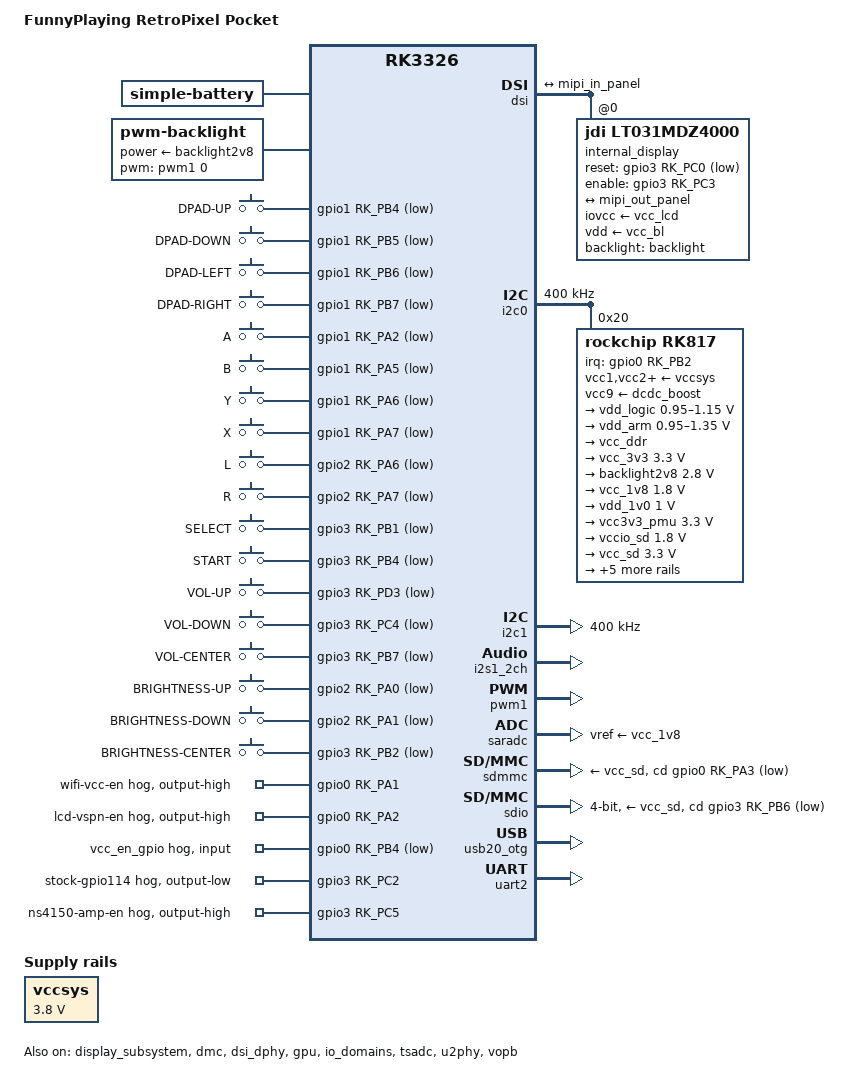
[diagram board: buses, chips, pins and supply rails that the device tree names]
// SPDX-License-Identifier: (GPL-2.0+ OR MIT)
/*
 * FunnyPlaying RetroPixel Pocket (RK3326 variant, "V2")
 *
 * This board file intentionally starts from rk3326.dtsi, not from
 * Odroid Go / RG351 board files.  The board is from a different
 * manufacturer and the factory source describes its own PMIC rails,
 * IO domains, panel GPIOs, SDIO wiring, and input matrix.
 */

/dts-v1/;
#include <dt-bindings/gpio/gpio.h>
#include <dt-bindings/input/input.h>
#include <dt-bindings/pinctrl/rockchip.h>
#include "rk3326.dtsi"

/ {
	model = "FunnyPlaying RetroPixel Pocket";
	compatible = "funnyplaying,rppocket", "rockchip,rk3326";

	aliases {
		mmc0 = &sdmmc;
	};

	chosen {
		stdout-path = "serial2:115200n8";
	};

	battery: battery {
		compatible = "simple-battery";
		charge-full-design-microamp-hours = <3000000>;
		charge-term-current-microamp = <300000>;
		constant-charge-current-max-microamp = <1500000>;
		constant-charge-voltage-max-microvolt = <4200000>;
		factory-internal-resistance-micro-ohms = <180000>;
		voltage-max-design-microvolt = <4100000>;
		voltage-min-design-microvolt = <3500000>;

		ocv-capacity-celsius = <20>;
		ocv-capacity-table-0 = <4046950 100>, <4001920 95>,
			<3967900 90>, <3919950 85>, <3895790 80>,
			<3882800 75>, <3871680 70>, <3859240 65>,
			<3845600 60>, <3825930 55>, <3803720 50>,
			<3785080 45>, <3768190 40>, <3745650 35>,
			<3726610 30>, <3711630 25>, <3696720 20>,
			<3685660 15>, <3674950 10>, <3663050 5>,
			<3574170 0>;
	};

	backlight: backlight {
		compatible = "pwm-backlight";
		power-supply = <&backlight2v8>;
		pwms = <&pwm1 0 62745 0>;
		brightness-levels = <
			  0   1   2   3   4   5   6   7
			  8   9  10  11  12  13  14  15
			 16  17  18  19  20  21  22  23
			 24  25  26  27  28  29  30  31
			 32  33  34  35  36  37  38  39
			 40  41  42  43  44  45  46  47
			 48  49  50  51  52  53  54  55
			 56  57  58  59  60  61  62  63
			 64  65  66  67  68  69  70  71
			 72  73  74  75  76  77  78  79
			 80  81  82  83  84  85  86  87
			 88  89  90  91  92  93  94  95
			 96  97  98  99 100 101 102 103
			104 105 106 107 108 109 110 111
			112 113 114 115 116 117 118 119
			120 121 122 123 124 125 126 127
			128 129 130 131 132 133 134 135
			136 137 138 139 140 141 142 143
			144 145 146 147 148 149 150 151
			152 153 154 155 156 157 158 159
			160 161 162 163 164 165 166 167
			168 169 170 171 172 173 174 175
			176 177 178 179 180 181 182 183
			184 185 186 187 188 189 190 191
			192 193 194 195 196 197 198 199
			200 201 202 203 204 205 206 207
			208 209 210 211 212 213 214 215
			216 217 218 219 220 221 222 223
			224 225 226 227 228 229 230 231
			232 233 234 235 236 237 238 239
			240 241 242 243 244 245 246 247
			248 249 250 251 252 253 254 255>;
		default-brightness-level = <128>;
	};

	gpio_keys: gpio-keys {
		compatible = "gpio-keys";
		autorepeat;
		pinctrl-names = "default";
		pinctrl-0 = <&btn_pins>;

		button-up {
			label = "DPAD-UP";
			gpios = <&gpio1 RK_PB4 GPIO_ACTIVE_LOW>;
			linux,code = <BTN_DPAD_UP>;
		};

		button-down {
			label = "DPAD-DOWN";
			gpios = <&gpio1 RK_PB5 GPIO_ACTIVE_LOW>;
			linux,code = <BTN_DPAD_DOWN>;
		};

		button-left {
			label = "DPAD-LEFT";
			gpios = <&gpio1 RK_PB6 GPIO_ACTIVE_LOW>;
			linux,code = <BTN_DPAD_LEFT>;
		};

		button-right {
			label = "DPAD-RIGHT";
			gpios = <&gpio1 RK_PB7 GPIO_ACTIVE_LOW>;
			linux,code = <BTN_DPAD_RIGHT>;
		};

		button-a {
			label = "A";
			gpios = <&gpio1 RK_PA2 GPIO_ACTIVE_LOW>;
			linux,code = <BTN_EAST>;
		};

		button-b {
			label = "B";
			gpios = <&gpio1 RK_PA5 GPIO_ACTIVE_LOW>;
			linux,code = <BTN_SOUTH>;
		};

		button-y {
			label = "Y";
			gpios = <&gpio1 RK_PA6 GPIO_ACTIVE_LOW>;
			linux,code = <BTN_WEST>;
		};

		button-x {
			label = "X";
			gpios = <&gpio1 RK_PA7 GPIO_ACTIVE_LOW>;
			linux,code = <BTN_NORTH>;
		};

		button-l {
			label = "L";
			gpios = <&gpio2 RK_PA6 GPIO_ACTIVE_LOW>;
			linux,code = <BTN_TL>;
		};

		button-r {
			label = "R";
			gpios = <&gpio2 RK_PA7 GPIO_ACTIVE_LOW>;
			linux,code = <BTN_TR>;
		};

		button-select {
			label = "SELECT";
			gpios = <&gpio3 RK_PB1 GPIO_ACTIVE_LOW>;
			linux,code = <BTN_SELECT>;
		};

		button-start {
			label = "START";
			gpios = <&gpio3 RK_PB4 GPIO_ACTIVE_LOW>;
			linux,code = <BTN_START>;
		};

		button-volume-up {
			label = "VOL-UP";
			gpios = <&gpio3 RK_PD3 GPIO_ACTIVE_LOW>;
			linux,code = <KEY_VOLUMEUP>;
		};

		button-volume-down {
			label = "VOL-DOWN";
			gpios = <&gpio3 RK_PC4 GPIO_ACTIVE_LOW>;
			linux,code = <KEY_VOLUMEDOWN>;
		};

		button-volume-center {
			label = "VOL-CENTER";
			gpios = <&gpio3 RK_PB7 GPIO_ACTIVE_LOW>;
			linux,code = <BTN_TRIGGER_HAPPY1>;
		};

		button-brightness-up {
			label = "BRIGHTNESS-UP";
			gpios = <&gpio2 RK_PA0 GPIO_ACTIVE_LOW>;
			linux,code = <KEY_BRIGHTNESSUP>;
		};

		button-brightness-down {
			label = "BRIGHTNESS-DOWN";
			gpios = <&gpio2 RK_PA1 GPIO_ACTIVE_LOW>;
			linux,code = <KEY_BRIGHTNESSDOWN>;
		};

		button-brightness-center {
			label = "BRIGHTNESS-CENTER";
			gpios = <&gpio3 RK_PB2 GPIO_ACTIVE_LOW>;
			linux,code = <BTN_TRIGGER_HAPPY2>;
		};
	};

	rk817-sound {
		compatible = "simple-audio-card";
		simple-audio-card,name = "rk817_int";
		simple-audio-card,format = "i2s";
		simple-audio-card,mclk-fs = <256>;
		simple-audio-card,widgets =
			"Microphone", "Mic Jack",
			"Headphone", "Headphones",
			"Speaker", "Speaker";
		simple-audio-card,routing =
			"MICL", "Mic Jack",
			"Headphones", "HPOL",
			"Headphones", "HPOR",
			"Speaker", "Speaker";

		simple-audio-card,codec {
			sound-dai = <&rk817>;
		};

		simple-audio-card,cpu {
			sound-dai = <&i2s1_2ch>;
		};
	};

	vccsys: regulator-vccsys {
		compatible = "regulator-fixed";
		regulator-name = "vcc3v8_sys";
		regulator-always-on;
		regulator-min-microvolt = <3800000>;
		regulator-max-microvolt = <3800000>;
	};

};

&cpu0 {
	cpu-supply = <&vdd_arm>;
};

&cpu1 {
	cpu-supply = <&vdd_arm>;
};

&cpu2 {
	cpu-supply = <&vdd_arm>;
};

&cpu3 {
	cpu-supply = <&vdd_arm>;
};

&cru {
	assigned-clocks = <&cru PLL_NPLL>,
		<&cru ACLK_BUS_PRE>, <&cru ACLK_PERI_PRE>,
		<&cru HCLK_BUS_PRE>, <&cru HCLK_PERI_PRE>,
		<&cru PCLK_BUS_PRE>, <&cru SCLK_GPU>;

	assigned-clock-rates = <1188000000>,
		<200000000>, <200000000>,
		<150000000>, <150000000>,
		<100000000>, <200000000>;
};

&display_subsystem {
	status = "okay";
};

&dmc {
	center-supply = <&vdd_logic>;
	status = "okay";
};

&dsi {
	#address-cells = <1>;
	#size-cells = <0>;
	status = "okay";

	ports {
		mipi_out: port@1 {
			reg = <1>;

			mipi_out_panel: endpoint {
				remote-endpoint = <&mipi_in_panel>;
			};
		};
	};

	internal_display: panel@0 {
		compatible = "jdi,lt031mdz4000";
		reg = <0>;
		backlight = <&backlight>;
		iovcc-supply = <&vcc_lcd>;
		vdd-supply = <&vcc_bl>;
		reset-gpios = <&gpio3 RK_PC0 GPIO_ACTIVE_LOW>;
		enable-gpios = <&gpio3 RK_PC3 GPIO_ACTIVE_HIGH>;

		port {
			mipi_in_panel: endpoint {
				remote-endpoint = <&mipi_out_panel>;
			};
		};
	};
};

&dsi_dphy {
	status = "okay";
};

&gpu {
	mali-supply = <&vdd_logic>;
	status = "okay";
};

&i2c0 {
	clock-frequency = <400000>;
	i2c-scl-falling-time-ns = <16>;
	i2c-scl-rising-time-ns = <280>;
	status = "okay";

	rk817: pmic@20 {
		compatible = "rockchip,rk817";
		reg = <0x20>;
		interrupt-parent = <&gpio0>;
		interrupts = <RK_PB2 IRQ_TYPE_LEVEL_LOW>;
		clock-output-names = "rk808-clkout1", "xin32k";
		clock-names = "mclk";
		clocks = <&cru SCLK_I2S1_OUT>;
		pinctrl-names = "default", "pmic-sleep", "pmic-power-off", "pmic-reset";
		pinctrl-0 = <&pmic_int>, <&i2s1_2ch_mclk>;
		pinctrl-1 = <&soc_slppin_slp>, <&rk817_slppin_slp>;
		pinctrl-2 = <&soc_slppin_gpio>, <&rk817_slppin_pwrdn>;
		pinctrl-3 = <&soc_slppin_rst>, <&rk817_slppin_rst>;
		rockchip,system-power-controller;
		wakeup-source;
		#clock-cells = <1>;
		#sound-dai-cells = <0>;

		pmic-reset-func = <1>;

		vcc1-supply = <&vccsys>;
		vcc2-supply = <&vccsys>;
		vcc3-supply = <&vccsys>;
		vcc4-supply = <&vccsys>;
		vcc5-supply = <&vccsys>;
		vcc6-supply = <&vccsys>;
		vcc7-supply = <&vccsys>;
		vcc8-supply = <&vccsys>;
		vcc9-supply = <&dcdc_boost>;

		pinctrl_rk8xx: pinctrl_rk8xx {
			gpio-controller;
			#gpio-cells = <2>;

			rk817_ts_gpio1: rk817_ts_gpio1 {
				pins = "gpio_ts";
				function = "pin_fun1";
			};

			rk817_gt_gpio2: rk817_gt_gpio2 {
				pins = "gpio_gt";
				function = "pin_fun1";
			};

			rk817_pin_ts: rk817_pin_ts {
				pins = "gpio_ts";
				function = "pin_fun0";
			};

			rk817_pin_gt: rk817_pin_gt {
				pins = "gpio_gt";
				function = "pin_fun0";
			};

			rk817_slppin_null: rk817_slppin_null {
				pins = "gpio_slp";
				function = "pin_fun0";
			};

			rk817_slppin_slp: rk817_slppin_slp {
				pins = "gpio_slp";
				function = "pin_fun1";
			};

			rk817_slppin_pwrdn: rk817_slppin_pwrdn {
				pins = "gpio_slp";
				function = "pin_fun2";
			};

			rk817_slppin_rst: rk817_slppin_rst {
				pins = "gpio_slp";
				function = "pin_fun3";
			};
		};

		regulators {
			vdd_logic: DCDC_REG1 {
				regulator-name = "vdd_logic";
				regulator-min-microvolt = <950000>;
				regulator-max-microvolt = <1150000>;
				regulator-ramp-delay = <6001>;
				regulator-always-on;
				regulator-boot-on;

				regulator-state-mem {
					regulator-on-in-suspend;
					regulator-suspend-microvolt = <950000>;
				};
			};

			vdd_arm: DCDC_REG2 {
				regulator-name = "vdd_arm";
				regulator-min-microvolt = <950000>;
				regulator-max-microvolt = <1350000>;
				regulator-ramp-delay = <6001>;
				regulator-always-on;
				regulator-boot-on;

				regulator-state-mem {
					regulator-off-in-suspend;
					regulator-suspend-microvolt = <950000>;
				};
			};

			vcc_ddr: DCDC_REG3 {
				regulator-name = "vcc_ddr";
				regulator-always-on;
				regulator-boot-on;

				regulator-state-mem {
					regulator-on-in-suspend;
				};
			};

			vcc_3v3: DCDC_REG4 {
				regulator-name = "vcc_3v3";
				regulator-min-microvolt = <3300000>;
				regulator-max-microvolt = <3300000>;
				regulator-always-on;
				regulator-boot-on;

				regulator-state-mem {
					regulator-off-in-suspend;
					regulator-suspend-microvolt = <3300000>;
				};
			};

			backlight2v8: LDO_REG1 {
				regulator-name = "backlight2v8_supply";
				regulator-min-microvolt = <2800000>;
				regulator-max-microvolt = <2800000>;
				regulator-always-on;
				regulator-boot-on;

				regulator-state-mem {
					regulator-off-in-suspend;
					regulator-suspend-microvolt = <2800000>;
				};
			};

			vcc_1v8: LDO_REG2 {
				regulator-name = "vcc1v8_soc";
				regulator-min-microvolt = <1800000>;
				regulator-max-microvolt = <1800000>;
				regulator-always-on;
				regulator-boot-on;

				regulator-state-mem {
					regulator-on-in-suspend;
					regulator-suspend-microvolt = <1800000>;
				};
			};

			vdd_1v0: LDO_REG3 {
				regulator-name = "vcc1v0_soc";
				regulator-min-microvolt = <1000000>;
				regulator-max-microvolt = <1000000>;
				regulator-always-on;
				regulator-boot-on;

				regulator-state-mem {
					regulator-on-in-suspend;
					regulator-suspend-microvolt = <1000000>;
				};
			};

			vcc3v3_pmu: LDO_REG4 {
				regulator-name = "vcc3v3_pmu";
				regulator-min-microvolt = <3300000>;
				regulator-max-microvolt = <3300000>;
				regulator-always-on;
				regulator-boot-on;

				regulator-state-mem {
					regulator-on-in-suspend;
					regulator-suspend-microvolt = <3300000>;
				};
			};

			vccio_sd: LDO_REG5 {
				regulator-name = "vccio_sd";
				regulator-min-microvolt = <1800000>;
				regulator-max-microvolt = <1800000>;
				regulator-always-on;
				regulator-boot-on;

				regulator-state-mem {
					regulator-on-in-suspend;
					regulator-suspend-microvolt = <1800000>;
				};
			};

			vcc_sd: LDO_REG6 {
				regulator-name = "vcc_sd";
				regulator-min-microvolt = <3300000>;
				regulator-max-microvolt = <3300000>;
				regulator-boot-on;

				regulator-state-mem {
					regulator-on-in-suspend;
					regulator-suspend-microvolt = <3300000>;
				};
			};

			vcc_bl: LDO_REG7 {
				regulator-name = "lcd2v8_supply";
				regulator-min-microvolt = <2800000>;
				regulator-max-microvolt = <2800000>;

				regulator-state-mem {
					regulator-off-in-suspend;
					regulator-suspend-microvolt = <2800000>;
				};
			};

			vcc_lcd: LDO_REG8 {
				regulator-name = "vcc_lcd";
				regulator-min-microvolt = <1800000>;
				regulator-max-microvolt = <1800000>;

				regulator-state-mem {
					regulator-off-in-suspend;
					regulator-suspend-microvolt = <1800000>;
				};
			};

			vcc_wifi: LDO_REG9 {
				regulator-name = "vcc_wifi";
				regulator-min-microvolt = <3300000>;
				regulator-max-microvolt = <3300000>;
				regulator-always-on;
				regulator-boot-on;

				regulator-state-mem {
					regulator-off-in-suspend;
					regulator-suspend-microvolt = <3300000>;
				};
			};

			dcdc_boost: BOOST {
				regulator-name = "boost";
				regulator-min-microvolt = <5000000>;
				regulator-max-microvolt = <5400000>;
				regulator-always-on;
				regulator-boot-on;
			};

			otg_switch: OTG_SWITCH {
				regulator-name = "otg_switch";
				regulator-always-on;
				regulator-boot-on;
			};
		};

		rk817_charger: charger {
			compatible = "rk817,charger";
			min_input_voltage = <4500>;
			max_input_current = <1500>;
			max_chrg_current = <2000>;
			max_chrg_voltage = <4200>;
			chrg_term_mode = <0>;
			chrg_finish_cur = <52>;
			virtual_power = <0>;
			sample_res = <10>;
			rockchip,resistor-sense-micro-ohms = <10000>;
			rockchip,sleep-enter-current-microamp = <300000>;
			rockchip,sleep-filter-current-microamp = <100000>;
			extcon = <&u2phy>;
		};

		rk817_codec: codec {
			rockchip,mic-in-differential;
		};
	};
};

&i2c1 {
	clock-frequency = <400000>;
	status = "okay";
};

&i2s1_2ch {
	status = "okay";
	#sound-dai-cells = <0>;
};

&io_domains {
	status = "okay";
	vccio1-supply = <&vccio_sd>;
	vccio2-supply = <&vccio_sd>;
	vccio3-supply = <&vcc_3v3>;
	vccio4-supply = <&vcc_3v3>;
	vccio5-supply = <&vcc_3v3>;
	vccio6-supply = <&vcc_3v3>;
};

&pmu_io_domains {
	status = "okay";
	pmuio1-supply = <&vcc3v3_pmu>;
	pmuio2-supply = <&vcc3v3_pmu>;
};

&pwm1 {
	status = "okay";
};

&saradc {
	vref-supply = <&vcc_1v8>;
	status = "okay";
};

&sdmmc {
	cap-sd-highspeed;
	card-detect-delay = <200>;
	cd-gpios = <&gpio0 RK_PA3 GPIO_ACTIVE_LOW>;
	sd-uhs-sdr12;
	sd-uhs-sdr25;
	sd-uhs-sdr50;
	sd-uhs-sdr104;
	vqmmc-supply = <&vccio_sd>;
	vmmc-supply = <&vcc_sd>;
	status = "okay";
};

&sdio {
	bus-width = <4>;
	cap-mmc-highspeed;
	cap-sd-highspeed;
	supports-sd;
	card-detect-delay = <800>;
	ignore-pm-notify;
	cd-gpios = <&gpio3 RK_PB6 GPIO_ACTIVE_LOW>;
	sd-uhs-sdr12;
	sd-uhs-sdr25;
	sd-uhs-sdr50;
	sd-uhs-sdr104;
	vqmmc-supply = <&vccio_sd>;
	vmmc-supply = <&vcc_sd>;
	status = "okay";
};

&tsadc {
	status = "okay";
};

&u2phy {
	status = "okay";

	u2phy_host: host-port {
		status = "okay";
	};

	u2phy_otg: otg-port {
		status = "okay";
	};
};

&usb20_otg {
	/delete-property/ usb-role-switch;
	/delete-property/ role-switch-default-mode;
	status = "okay";
};

&usb_host0_ehci {
	status = "disabled";
};

&usb_host0_ohci {
	status = "disabled";
};

&uart2 {
	pinctrl-names = "default";
	pinctrl-0 = <&uart2m1_xfer>;
	status = "okay";
};

&vopb {
	status = "okay";
};

&vopb_mmu {
	status = "okay";
};

&gpio0 {
	wifi-vcc-en-hog {
		gpio-hog;
		gpios = <RK_PA1 GPIO_ACTIVE_HIGH>;
		output-high;
		line-name = "wifi-vcc-en";
	};

	lcd-vspn-en-hog {
		gpio-hog;
		gpios = <RK_PA2 GPIO_ACTIVE_HIGH>;
		output-high;
		line-name = "lcd-vspn-en";
	};

	panel-vcc-en-sense-hog {
		gpio-hog;
		gpios = <RK_PB4 GPIO_ACTIVE_LOW>;
		input;
		line-name = "vcc_en_gpio";
	};
};

&gpio3 {
	stock-gpio114-hog {
		gpio-hog;
		gpios = <RK_PC2 GPIO_ACTIVE_HIGH>;
		output-low;
		line-name = "stock-gpio114";
	};

	amp-en-hog {
		gpio-hog;
		gpios = <RK_PC5 GPIO_ACTIVE_HIGH>;
		output-high;
		line-name = "ns4150-amp-en";
	};
};

&pinctrl {
	buttons {
		btn_pins: btn-pins {
			rockchip,pins =
				<1 RK_PA2 RK_FUNC_GPIO &pcfg_pull_up>,
				<1 RK_PA5 RK_FUNC_GPIO &pcfg_pull_up>,
				<1 RK_PA6 RK_FUNC_GPIO &pcfg_pull_up>,
				<1 RK_PA7 RK_FUNC_GPIO &pcfg_pull_up>,
				<1 RK_PB4 RK_FUNC_GPIO &pcfg_pull_up>,
				<1 RK_PB5 RK_FUNC_GPIO &pcfg_pull_up>,
				<1 RK_PB6 RK_FUNC_GPIO &pcfg_pull_up>,
				<1 RK_PB7 RK_FUNC_GPIO &pcfg_pull_up>,
				<2 RK_PA0 RK_FUNC_GPIO &pcfg_pull_up>,
				<2 RK_PA1 RK_FUNC_GPIO &pcfg_pull_up>,
				<2 RK_PA6 RK_FUNC_GPIO &pcfg_pull_up>,
				<2 RK_PA7 RK_FUNC_GPIO &pcfg_pull_up>,
				<3 RK_PB1 RK_FUNC_GPIO &pcfg_pull_up>,
				<3 RK_PB2 RK_FUNC_GPIO &pcfg_pull_up>,
				<3 RK_PB4 RK_FUNC_GPIO &pcfg_pull_up>,
				<3 RK_PB7 RK_FUNC_GPIO &pcfg_pull_up>,
				<3 RK_PC4 RK_FUNC_GPIO &pcfg_pull_up>,
				<3 RK_PD3 RK_FUNC_GPIO &pcfg_pull_up>;
		};
	};

	pmic {
		pmic_int: pmic-int {
			rockchip,pins =
				<0 RK_PB2 RK_FUNC_GPIO &pcfg_pull_up>,
				<0 RK_PB3 RK_FUNC_GPIO &pcfg_pull_none>;
		};

		soc_slppin_gpio: soc-slppin-gpio {
			rockchip,pins = <0 RK_PA4 RK_FUNC_GPIO &pcfg_output_low>;
		};

		soc_slppin_slp: soc-slppin-slp {
			rockchip,pins = <0 RK_PA4 1 &pcfg_pull_none>;
		};

		soc_slppin_rst: soc-slppin-rst {
			rockchip,pins = <0 RK_PA4 2 &pcfg_pull_none>;
		};
	};
};

&rk817_charger {
	monitored-battery = <&battery>;
};
